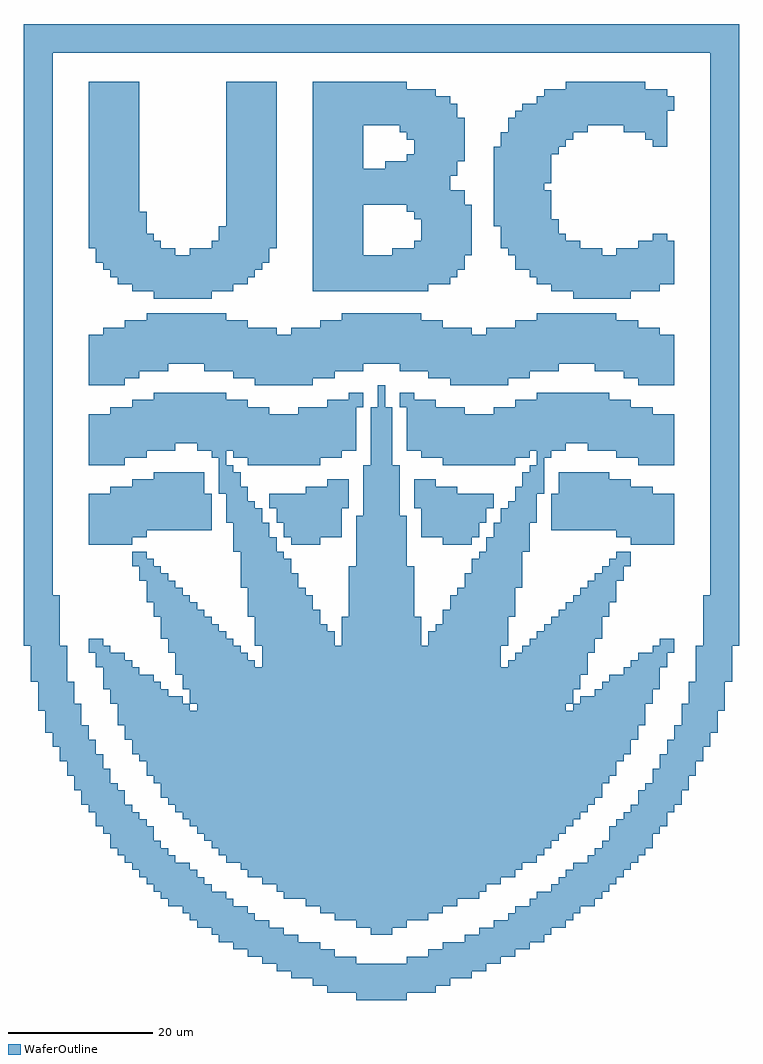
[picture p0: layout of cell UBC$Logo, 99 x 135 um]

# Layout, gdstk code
import gdstk
lib = gdstk.Library(unit=1e-6, precision=1e-09)
def P(c, l, *ps):  # polygons
    for p in ps: c.add(gdstk.Polygon(p, *l))
WaferOutline = (1, 0)

ubc_logo = lib.new_cell('UBC$Logo')
P(ubc_logo, WaferOutline, [(37,-72),(37,-71),(36,-71),(36,-69),(35,-69),(35,-67),(34,-67),(34,-65),(39,-65),(39,-64),(42,-64),(42,-63),(45,-63),(45,-67),(44,-67),(44,-71),(41,-71),(41,-72)],
  [(58,-72),(58,-71),(55,-71),(55,-67),(54,-67),(54,-63),(57,-63),(57,-64),(60,-64),(60,-65),(65,-65),(65,-67),(64,-67),(64,-69),(63,-69),(63,-71),(62,-71),(62,-72)],
  [(9,-72),(9,-65),(12,-65),(12,-64),(15,-64),(15,-63),(18,-63),(18,-62),(25,-62),(25,-65),(26,-65),(26,-70),(17,-70),(17,-71),(15,-71),(15,-72)],
  [(84,-72),(84,-71),(82,-71),(82,-70),(73,-70),(73,-65),(74,-65),(74,-62),(81,-62),(81,-63),(84,-63),(84,-64),(87,-64),(87,-65),(90,-65),(90,-72)],
  [(48,-126),(48,-125),(46,-125),(46,-124),(43,-124),(43,-123),(41,-123),(41,-122),(39,-122),(39,-121),(36,-121),(36,-120),(35,-120),(35,-119),(33,-119),(33,-118),(31,-118),(31,-117),(30,-117),(30,-116),(28,-116),(28,-115),(27,-115),(27,-114),(26,-114),(26,-113),(25,-113),(25,-112),(24,-112),(24,-111),(23,-111),(23,-110),(22,-110),(22,-109),(21,-109),(21,-108),(20,-108),(20,-107),(19,-107),(19,-105),(18,-105),(18,-104),(17,-104),(17,-102),(16,-102),(16,-101),(15,-101),(15,-99),(14,-99),(14,-97),(13,-97),(13,-94),(12,-94),(12,-92),(11,-92),(11,-89),(10,-89),(10,-87),(9,-87),(9,-85),(11,-85),(11,-86),(12,-86),(12,-87),(14,-87),(14,-88),(15,-88),(15,-89),(16,-89),(16,-90),(18,-90),(18,-91),(19,-91),(19,-92),(20,-92),(20,-93),(22,-93),(22,-94),(23,-94),(23,-95),(24,-95),(24,-94),(23,-94),(23,-92),(22,-92),(22,-90),(21,-90),(21,-87),(20,-87),(20,-85),(19,-85),(19,-82),(18,-82),(18,-80),(17,-80),(17,-77),(16,-77),(16,-75),(15,-75),(15,-73),(17,-73),(17,-74),(18,-74),(18,-75),(19,-75),(19,-76),(20,-76),(20,-77),(21,-77),(21,-78),(22,-78),(22,-79),(23,-79),(23,-80),(24,-80),(24,-81),(25,-81),(25,-82),(26,-82),(26,-83),(27,-83),(27,-84),(28,-84),(28,-85),(29,-85),(29,-86),(30,-86),(30,-87),(31,-87),(31,-88),(32,-88),(32,-89),(33,-89),(33,-86),(32,-86),(32,-82),(31,-82),(31,-78),(30,-78),(30,-73),(29,-73),(29,-69),(28,-69),(28,-65),(27,-65),(27,-60),(26,-60),(26,-59),(24,-59),(24,-58),(21,-58),(21,-59),(17,-59),(17,-60),(14,-60),(14,-61),(9,-61),(9,-54),(12,-54),(12,-53),(15,-53),(15,-52),(18,-52),(18,-51),(28,-51),(28,-52),(31,-52),(31,-53),(34,-53),(34,-54),(38,-54),(38,-53),(42,-53),(42,-52),(45,-52),(45,-51),(47,-51),(47,-53),(46,-53),(46,-59),(44,-59),(44,-60),(41,-60),(41,-61),(31,-61),(31,-60),(29,-60),(29,-59),(28,-59),(28,-61),(29,-61),(29,-62),(30,-62),(30,-64),(31,-64),(31,-66),(32,-66),(32,-67),(33,-67),(33,-69),(34,-69),(34,-71),(35,-71),(35,-73),(36,-73),(36,-74),(37,-74),(37,-76),(38,-76),(38,-78),(39,-78),(39,-79),(40,-79),(40,-81),(41,-81),(41,-83),(42,-83),(42,-84),(43,-84),(43,-86),(44,-86),(44,-82),(45,-82),(45,-75),(46,-75),(46,-68),(47,-68),(47,-61),(48,-61),(48,-53),(49,-53),(49,-50),(50,-50),(50,-53),(51,-53),(51,-61),(52,-61),(52,-68),(53,-68),(53,-75),(54,-75),(54,-82),(55,-82),(55,-86),(56,-86),(56,-84),(57,-84),(57,-83),(58,-83),(58,-81),(59,-81),(59,-79),(60,-79),(60,-78),(61,-78),(61,-76),(62,-76),(62,-74),(63,-74),(63,-73),(64,-73),(64,-71),(65,-71),(65,-69),(66,-69),(66,-67),(67,-67),(67,-66),(68,-66),(68,-64),(69,-64),(69,-62),(70,-62),(70,-61),(71,-61),(71,-59),(70,-59),(70,-60),(68,-60),(68,-61),(58,-61),(58,-60),(55,-60),(55,-59),(53,-59),(53,-53),(52,-53),(52,-51),(54,-51),(54,-52),(57,-52),(57,-53),(61,-53),(61,-54),(65,-54),(65,-53),(68,-53),(68,-52),(71,-52),(71,-51),(81,-51),(81,-52),(84,-52),(84,-53),(87,-53),(87,-54),(90,-54),(90,-61),(85,-61),(85,-60),(82,-60),(82,-59),(78,-59),(78,-58),(75,-58),(75,-59),(73,-59),(73,-60),(72,-60),(72,-65),(71,-65),(71,-69),(70,-69),(70,-73),(69,-73),(69,-78),(68,-78),(68,-82),(67,-82),(67,-86),(66,-86),(66,-89),(67,-89),(67,-88),(68,-88),(68,-87),(69,-87),(69,-86),(70,-86),(70,-85),(71,-85),(71,-84),(72,-84),(72,-83),(73,-83),(73,-82),(74,-82),(74,-81),(75,-81),(75,-80),(76,-80),(76,-79),(77,-79),(77,-78),(78,-78),(78,-77),(79,-77),(79,-76),(80,-76),(80,-75),(81,-75),(81,-74),(82,-74),(82,-73),(84,-73),(84,-75),(83,-75),(83,-77),(82,-77),(82,-80),(81,-80),(81,-82),(80,-82),(80,-85),(79,-85),(79,-87),(78,-87),(78,-90),(77,-90),(77,-92),(76,-92),(76,-94),(75,-94),(75,-95),(76,-95),(76,-94),(77,-94),(77,-93),(79,-93),(79,-92),(80,-92),(80,-91),(81,-91),(81,-90),(83,-90),(83,-89),(84,-89),(84,-88),(85,-88),(85,-87),(87,-87),(87,-86),(88,-86),(88,-85),(90,-85),(90,-87),(89,-87),(89,-89),(88,-89),(88,-92),(87,-92),(87,-94),(86,-94),(86,-97),(85,-97),(85,-99),(84,-99),(84,-101),(83,-101),(83,-102),(82,-102),(82,-104),(81,-104),(81,-105),(80,-105),(80,-107),(79,-107),(79,-108),(78,-108),(78,-109),(77,-109),(77,-110),(76,-110),(76,-111),(75,-111),(75,-112),(74,-112),(74,-113),(73,-113),(73,-114),(72,-114),(72,-115),(71,-115),(71,-116),(69,-116),(69,-117),(68,-117),(68,-118),(66,-118),(66,-119),(64,-119),(64,-120),(63,-120),(63,-121),(60,-121),(60,-122),(58,-122),(58,-123),(56,-123),(56,-124),(53,-124),(53,-125),(51,-125),(51,-126)],
  [(9,-50),(9,-43),(11,-43),(11,-42),(14,-42),(14,-41),(17,-41),(17,-40),(28,-40),(28,-41),(31,-41),(31,-42),(35,-42),(35,-43),(37,-43),(37,-42),(41,-42),(41,-41),(44,-41),(44,-40),(55,-40),(55,-41),(58,-41),(58,-42),(62,-42),(62,-43),(64,-43),(64,-42),(68,-42),(68,-41),(71,-41),(71,-40),(82,-40),(82,-41),(85,-41),(85,-42),(88,-42),(88,-43),(90,-43),(90,-50),(85,-50),(85,-49),(83,-49),(83,-48),(79,-48),(79,-47),(74,-47),(74,-48),(70,-48),(70,-49),(67,-49),(67,-50),(59,-50),(59,-49),(56,-49),(56,-48),(52,-48),(52,-47),(47,-47),(47,-48),(43,-48),(43,-49),(40,-49),(40,-50),(32,-50),(32,-49),(29,-49),(29,-48),(25,-48),(25,-47),(20,-47),(20,-48),(16,-48),(16,-49),(14,-49),(14,-50)],
  [(18,-38),(18,-37),(15,-37),(15,-36),(13,-36),(13,-35),(12,-35),(12,-34),(11,-34),(11,-33),(10,-33),(10,-31),(9,-31),(9,-8),(16,-8),(16,-26),(17,-26),(17,-29),(18,-29),(18,-30),(19,-30),(19,-31),(21,-31),(21,-32),(23,-32),(23,-31),(26,-31),(26,-30),(27,-30),(27,-28),(28,-28),(28,-8),(35,-8),(35,-31),(34,-31),(34,-33),(33,-33),(33,-34),(32,-34),(32,-35),(31,-35),(31,-36),(29,-36),(29,-37),(26,-37),(26,-38)],
  [(40,-37),(40,-25),(47,-25),(47,-32),(51,-32),(51,-31),(54,-31),(54,-30),(55,-30),(55,-27),(54,-27),(54,-26),(53,-26),(53,-25),(40,-25),(40,-14),(47,-14),(47,-20),(50,-20),(50,-19),(53,-19),(53,-18),(54,-18),(54,-16),(53,-16),(53,-15),(52,-15),(52,-14),(40,-14),(40,-8),(53,-8),(53,-9),(57,-9),(57,-10),(59,-10),(59,-11),(60,-11),(60,-13),(61,-13),(61,-19),(60,-19),(60,-21),(59,-21),(59,-23),(61,-23),(61,-25),(62,-25),(62,-32),(61,-32),(61,-34),(60,-34),(60,-35),(59,-35),(59,-36),(56,-36),(56,-37)],
  [(76,-38),(76,-37),(73,-37),(73,-36),(71,-36),(71,-35),(70,-35),(70,-34),(68,-34),(68,-32),(67,-32),(67,-31),(66,-31),(66,-28),(65,-28),(65,-17),(66,-17),(66,-15),(67,-15),(67,-13),(68,-13),(68,-12),(69,-12),(69,-11),(71,-11),(71,-10),(72,-10),(72,-9),(75,-9),(75,-8),(86,-8),(86,-9),(89,-9),(89,-10),(90,-10),(90,-12),(89,-12),(89,-17),(87,-17),(87,-16),(86,-16),(86,-15),(83,-15),(83,-14),(78,-14),(78,-15),(76,-15),(76,-16),(75,-16),(75,-17),(74,-17),(74,-18),(73,-18),(73,-22),(72,-22),(72,-23),(73,-23),(73,-27),(74,-27),(74,-29),(75,-29),(75,-30),(77,-30),(77,-31),(80,-31),(80,-32),(82,-32),(82,-31),(85,-31),(85,-30),(87,-30),(87,-29),(89,-29),(89,-30),(90,-30),(90,-36),(88,-36),(88,-37),(84,-37),(84,-38)],
  [(46,-135),(46,-134),(42,-134),(42,-133),(40,-133),(40,-132),(37,-132),(37,-131),(35,-131),(35,-130),(33,-130),(33,-129),(31,-129),(31,-128),(29,-128),(29,-127),(27,-127),(27,-126),(26,-126),(26,-125),(24,-125),(24,-124),(23,-124),(23,-123),(22,-123),(22,-122),(20,-122),(20,-121),(19,-121),(19,-120),(18,-120),(18,-119),(17,-119),(17,-118),(16,-118),(16,-117),(15,-117),(15,-116),(14,-116),(14,-115),(13,-115),(13,-114),(12,-114),(12,-112),(11,-112),(11,-111),(10,-111),(10,-109),(9,-109),(9,-108),(8,-108),(8,-106),(7,-106),(7,-104),(6,-104),(6,-102),(5,-102),(5,-100),(4,-100),(4,-98),(3,-98),(3,-95),(2,-95),(2,-91),(1,-91),(1,-86),(0,-86),(0,-4),(4,-4),(4,-79),(5,-79),(5,-86),(6,-86),(6,-91),(7,-91),(7,-94),(8,-94),(8,-97),(9,-97),(9,-99),(10,-99),(10,-101),(11,-101),(11,-103),(12,-103),(12,-105),(13,-105),(13,-106),(14,-106),(14,-108),(15,-108),(15,-109),(16,-109),(16,-110),(17,-110),(17,-111),(18,-111),(18,-113),(19,-113),(19,-114),(20,-114),(20,-115),(21,-115),(21,-116),(23,-116),(23,-117),(24,-117),(24,-118),(25,-118),(25,-119),(26,-119),(26,-120),(28,-120),(28,-121),(29,-121),(29,-122),(31,-122),(31,-123),(32,-123),(32,-124),(34,-124),(34,-125),(36,-125),(36,-126),(38,-126),(38,-127),(41,-127),(41,-128),(43,-128),(43,-129),(46,-129),(46,-130),(53,-130),(53,-129),(56,-129),(56,-128),(58,-128),(58,-127),(61,-127),(61,-126),(63,-126),(63,-125),(65,-125),(65,-124),(67,-124),(67,-123),(68,-123),(68,-122),(70,-122),(70,-121),(71,-121),(71,-120),(73,-120),(73,-119),(74,-119),(74,-118),(75,-118),(75,-117),(76,-117),(76,-116),(78,-116),(78,-115),(79,-115),(79,-114),(80,-114),(80,-113),(81,-113),(81,-111),(82,-111),(82,-110),(83,-110),(83,-109),(84,-109),(84,-108),(85,-108),(85,-106),(86,-106),(86,-105),(87,-105),(87,-103),(88,-103),(88,-101),(89,-101),(89,-99),(90,-99),(90,-97),(91,-97),(91,-94),(92,-94),(92,-91),(93,-91),(93,-86),(94,-86),(94,-79),(95,-79),(95,-4),(0,-4),(0,0),(99,0),(99,-86),(98,-86),(98,-91),(97,-91),(97,-95),(96,-95),(96,-98),(95,-98),(95,-100),(94,-100),(94,-102),(93,-102),(93,-104),(92,-104),(92,-106),(91,-106),(91,-108),(90,-108),(90,-109),(89,-109),(89,-111),(88,-111),(88,-112),(87,-112),(87,-114),(86,-114),(86,-115),(85,-115),(85,-116),(84,-116),(84,-117),(83,-117),(83,-118),(82,-118),(82,-119),(81,-119),(81,-120),(80,-120),(80,-121),(79,-121),(79,-122),(77,-122),(77,-123),(76,-123),(76,-124),(75,-124),(75,-125),(73,-125),(73,-126),(72,-126),(72,-127),(70,-127),(70,-128),(68,-128),(68,-129),(66,-129),(66,-130),(64,-130),(64,-131),(62,-131),(62,-132),(59,-132),(59,-133),(57,-133),(57,-134),(53,-134),(53,-135)])

lib.write_gds('UBC_Logo.gds')
